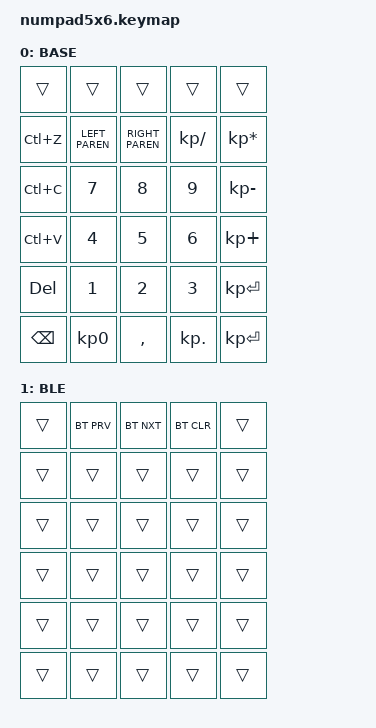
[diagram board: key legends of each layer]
/*
 * SPDX-License-Identifier: MIT
 */
#include <behaviors.dtsi>
#include <dt-bindings/zmk/keys.h>
#include <dt-bindings/zmk/bt.h>

 / {
    keymap {
        compatible = "zmk,keymap";

        /* The first layer must be named exactly "default_layer" */
        default_layer {
            display-name = "BASE";
            bindings = <
                 /* Row 0 */ &trans               &trans                &trans                &trans          &trans
        /* Row 1 */ &kp LC(Z)           &kp LEFT_PAREN         &kp RIGHT_PAREN         &kp KP_SLASH    &kp KP_ASTERISK
        /* Row 2 */ &kp LC(C)           &kp N7                 &kp N8                  &kp N9          &kp KP_MINUS
        /* Row 3 */ &kp LC(V)           &kp N4                 &kp N5                  &kp N6          &kp KP_PLUS
        /* Row 4 */ &kp DEL             &kp N1                 &kp N2                  &kp N3          &kp KP_ENTER
        /* Row 5 */ &kp BSPC            &kp KP_N0              &kp COMMA               &kp KP_DOT      &kp KP_ENTER
            >;
        };

        ble_layer {
            display-name = "BLE";
            bindings = <
                &trans &bt BT_PRV &bt BT_NXT &bt BT_CLR &trans
                &trans &trans &trans &trans &trans
                &trans &trans &trans &trans &trans
                &trans &trans &trans &trans &trans
                &trans &trans &trans &trans &trans
                &trans &trans &trans &trans &trans
            >;
        };
    };
};
